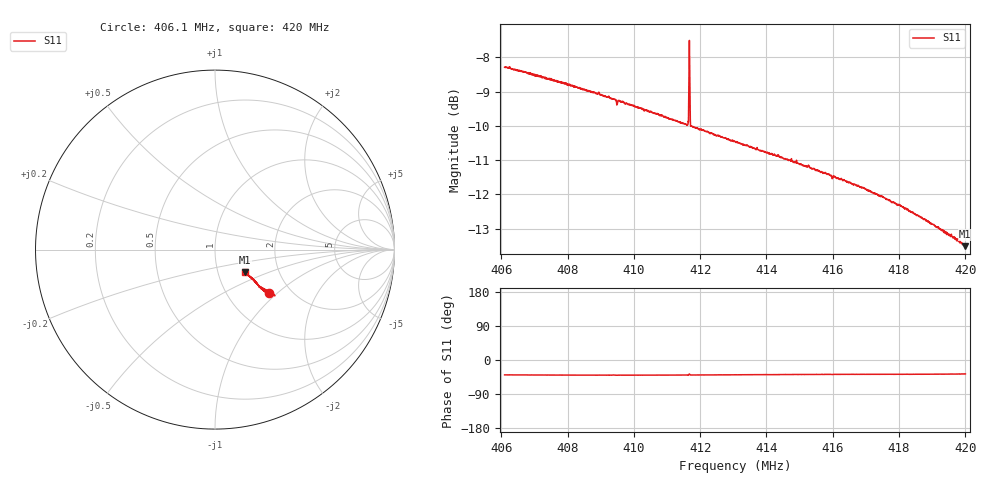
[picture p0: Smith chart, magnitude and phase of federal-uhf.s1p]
! Calibrated averaged scanner-service zoom
# Hz S RI R 50
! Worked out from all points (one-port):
!   2001 points, 406.1 MHz to 420 MHz, reference 50 ohm
!   lowest |S11| = -13.5 dB at 419.99 MHz (marker M1), VSWR 1.53, Z = 67.6 - j17.9 ohm
!   |S11| at or under -10 dB: 411.7085 MHz to 411.712 MHz (3.497 kHz wide, 0.000849 % of centre); 411.7192 MHz to 411.7277 MHz (8.501 kHz wide, 0.00206 % of centre); 411.73 MHz to end of sweep
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4.061e8  0.2983 -0.2436
4.078375e8  0.2811 -0.2341
4.089634e8  0.2699 -0.2257
4.093596e8  0.2666 -0.2211
4.095264e8  0.2635 -0.2217
4.09575e8  0.2633 -0.2204
4.113125e8  0.247 -0.2058
4.115766e8  0.2445 -0.2028
4.115905e8  0.2446 -0.2027
4.116114e8  0.2442 -0.2025
4.116252e8  0.2432 -0.2045
4.116948e8  0.2689 -0.2164
4.117226e8  0.2435 -0.2016
4.117295e8  0.2443 -0.2008
4.117364e8  0.2439 -0.2006
4.117573e8  0.2433 -0.2009
4.117642e8  0.2433 -0.2006
4.117782e8  0.2428 -0.2011
4.1305e8  0.2334 -0.1887
4.147875e8  0.2199 -0.1743
4.15281e8  0.2173 -0.1708
4.15962e8  0.2105 -0.1644
4.16525e8  0.2064 -0.16
4.169559e8  0.2025 -0.1571
4.182625e8  0.1889 -0.1455
4.192008e8  0.178 -0.1361
4.19993e8  0.169 -0.1264
4.2e8  0.1693 -0.1262
